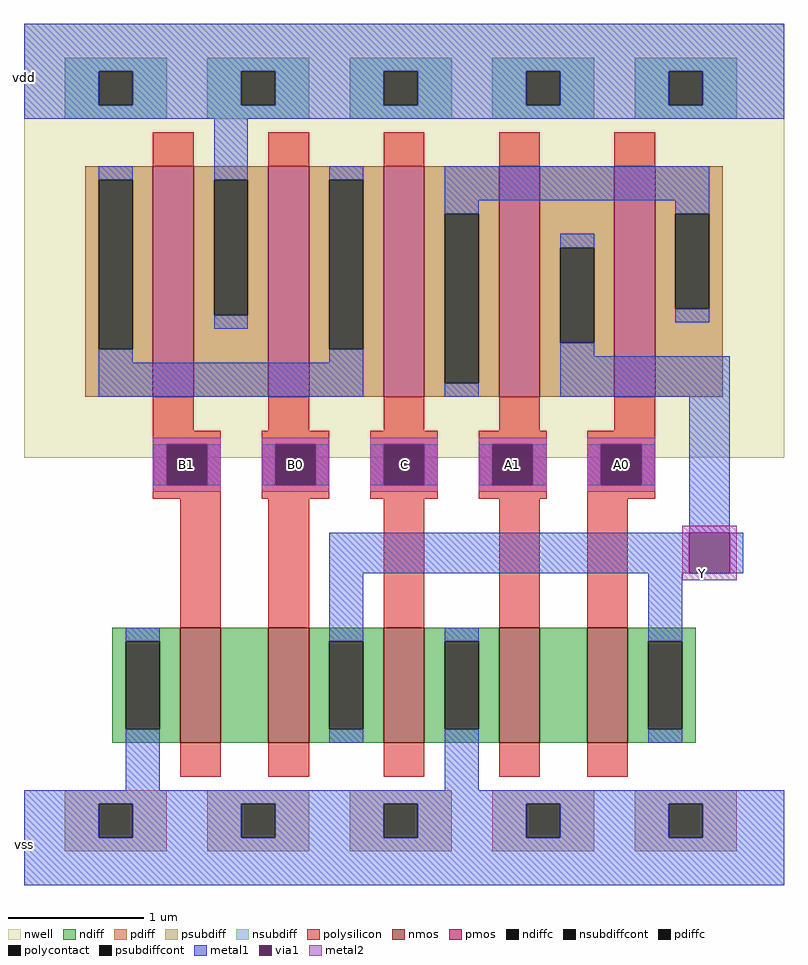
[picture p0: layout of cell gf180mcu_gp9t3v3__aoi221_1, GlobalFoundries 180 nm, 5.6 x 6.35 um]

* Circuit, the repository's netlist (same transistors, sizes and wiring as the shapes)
* NGSPICE file created from gf180mcu_gp9t3v3__aoi221_1.ext - technology: gf180mcuD

.subckt gf180mcu_gp9t3v3__aoi221_1 A0 A1 B0 B1 C Y vdd vss
X0 a_30_670# B0 vdd vdd pfet_03v3 ad=0.4675p pd=2.25u as=0.4675p ps=2.25u w=1.7u l=0.3u
X1 Y A1 a_530_670# vdd pfet_03v3 ad=0.4675p pd=2.25u as=0.4675p ps=2.25u w=1.7u l=0.3u
X2 a_250_160# B1 vss vss nfet_03v3 ad=0.10625p pd=1.1u as=0.425p ps=2.7u w=0.85u l=0.3u
X3 vss C Y vss nfet_03v3 ad=0.27625p pd=1.5u as=0.27625p ps=1.5u w=0.85u l=0.3u
X4 a_530_670# A0 Y vdd pfet_03v3 ad=0.85p pd=4.4u as=0.4675p ps=2.25u w=1.7u l=0.3u
X5 Y A0 a_740_160# vss nfet_03v3 ad=0.425p pd=2.7u as=0.10625p ps=1.1u w=0.85u l=0.3u
X6 vdd B1 a_30_670# vdd pfet_03v3 ad=0.4675p pd=2.25u as=0.85p ps=4.4u w=1.7u l=0.3u
X7 Y B0 a_250_160# vss nfet_03v3 ad=0.27625p pd=1.5u as=0.10625p ps=1.1u w=0.85u l=0.3u
X8 a_740_160# A1 vss vss nfet_03v3 ad=0.10625p pd=1.1u as=0.27625p ps=1.5u w=0.85u l=0.3u
X9 a_530_670# C a_30_670# vdd pfet_03v3 ad=0.4675p pd=2.25u as=0.4675p ps=2.25u w=1.7u l=0.3u
.ends

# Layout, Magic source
magic
tech gf180mcuD
<< nwell >>
rect -6 58 106 122
<< nmos >>
rect 17 16 23 33
rect 30 16 36 33
rect 47 16 53 33
rect 64 16 70 33
rect 77 16 83 33
<< pmos >>
rect 13 67 19 101
rect 30 67 36 101
rect 47 67 53 101
rect 64 67 70 101
rect 81 67 87 101
<< ndiff >>
rect 7 31 17 33
rect 7 18 9 31
rect 14 18 17 31
rect 7 16 17 18
rect 23 16 30 33
rect 36 31 47 33
rect 36 18 39 31
rect 44 18 47 31
rect 36 16 47 18
rect 53 31 64 33
rect 53 18 56 31
rect 61 18 64 31
rect 53 16 64 18
rect 70 16 77 33
rect 83 31 93 33
rect 83 18 86 31
rect 91 18 93 31
rect 83 16 93 18
<< pdiff >>
rect 3 99 13 101
rect 3 74 5 99
rect 10 74 13 99
rect 3 67 13 74
rect 19 99 30 101
rect 19 79 22 99
rect 27 79 30 99
rect 19 67 30 79
rect 36 99 47 101
rect 36 74 39 99
rect 44 74 47 99
rect 36 67 47 74
rect 53 94 64 101
rect 53 69 56 94
rect 61 69 64 94
rect 53 67 64 69
rect 70 89 81 101
rect 70 75 73 89
rect 78 75 81 89
rect 70 67 81 75
rect 87 94 97 101
rect 87 80 90 94
rect 95 80 97 94
rect 87 67 97 80
<< ndiffc >>
rect 9 18 14 31
rect 39 18 44 31
rect 56 18 61 31
rect 86 18 91 31
<< pdiffc >>
rect 5 74 10 99
rect 22 79 27 99
rect 39 74 44 99
rect 56 69 61 94
rect 73 75 78 89
rect 90 80 95 94
<< psubdiff >>
rect 0 7 15 9
rect 0 2 5 7
rect 10 2 15 7
rect 0 0 15 2
rect 21 7 36 9
rect 21 2 26 7
rect 31 2 36 7
rect 21 0 36 2
rect 42 7 57 9
rect 42 2 47 7
rect 52 2 57 7
rect 42 0 57 2
rect 63 7 78 9
rect 63 2 68 7
rect 73 2 78 7
rect 63 0 78 2
rect 84 7 99 9
rect 84 2 89 7
rect 94 2 99 7
rect 84 0 99 2
<< nsubdiff >>
rect 0 115 15 117
rect 0 110 5 115
rect 10 110 15 115
rect 0 108 15 110
rect 21 115 36 117
rect 21 110 26 115
rect 31 110 36 115
rect 21 108 36 110
rect 42 115 57 117
rect 42 110 47 115
rect 52 110 57 115
rect 42 108 57 110
rect 63 115 78 117
rect 63 110 68 115
rect 73 110 78 115
rect 63 108 78 110
rect 84 115 99 117
rect 84 110 89 115
rect 94 110 99 115
rect 84 108 99 110
<< psubdiffcont >>
rect 5 2 10 7
rect 26 2 31 7
rect 47 2 52 7
rect 68 2 73 7
rect 89 2 94 7
<< nsubdiffcont >>
rect 5 110 10 115
rect 26 110 31 115
rect 47 110 52 115
rect 68 110 73 115
rect 89 110 94 115
<< polysilicon >>
rect 13 101 19 106
rect 30 101 36 106
rect 47 101 53 106
rect 64 101 70 106
rect 81 101 87 106
rect 13 62 19 67
rect 30 62 36 67
rect 47 62 53 67
rect 64 62 70 67
rect 81 62 87 67
rect 13 60 23 62
rect 13 54 15 60
rect 21 54 23 60
rect 13 52 23 54
rect 29 60 39 62
rect 29 54 31 60
rect 37 54 39 60
rect 29 52 39 54
rect 45 60 55 62
rect 45 54 47 60
rect 53 54 55 60
rect 45 52 55 54
rect 61 60 71 62
rect 61 54 63 60
rect 69 54 71 60
rect 61 52 71 54
rect 77 60 87 62
rect 77 54 79 60
rect 85 54 87 60
rect 77 52 87 54
rect 17 33 23 52
rect 30 33 36 52
rect 47 33 53 52
rect 64 33 70 52
rect 77 33 83 52
rect 17 11 23 16
rect 30 11 36 16
rect 47 11 53 16
rect 64 11 70 16
rect 77 11 83 16
<< polycontact >>
rect 15 54 21 60
rect 31 54 37 60
rect 47 54 53 60
rect 63 54 69 60
rect 79 54 85 60
<< metal1 >>
rect -6 115 106 122
rect -6 110 5 115
rect 10 110 26 115
rect 31 110 47 115
rect 52 110 68 115
rect 73 110 89 115
rect 94 110 106 115
rect -6 108 106 110
rect 5 99 10 101
rect 22 99 27 108
rect 22 77 27 79
rect 39 99 44 101
rect 5 72 10 74
rect 39 72 44 74
rect 5 67 44 72
rect 56 96 95 101
rect 56 94 61 96
rect 90 94 95 96
rect 56 67 61 69
rect 73 89 78 91
rect 90 78 95 80
rect 73 73 78 75
rect 73 67 98 73
rect 13 54 15 60
rect 21 54 23 60
rect 29 54 31 60
rect 37 54 39 60
rect 45 54 47 60
rect 53 54 55 60
rect 61 54 63 60
rect 69 54 71 60
rect 77 54 79 60
rect 85 54 87 60
rect 92 47 98 67
rect 39 41 92 47
rect 98 41 100 47
rect 9 31 14 33
rect 9 9 14 18
rect 39 31 44 41
rect 39 16 44 18
rect 56 31 61 33
rect 56 9 61 18
rect 86 31 91 41
rect 86 16 91 18
rect -6 7 106 9
rect -6 2 5 7
rect 10 2 26 7
rect 31 2 47 7
rect 52 2 68 7
rect 73 2 89 7
rect 94 2 106 7
rect -6 -5 106 2
<< via1 >>
rect 15 54 21 60
rect 31 54 37 60
rect 47 54 53 60
rect 63 54 69 60
rect 79 54 85 60
rect 92 41 98 47
<< metal2 >>
rect 13 60 23 61
rect 13 54 15 60
rect 21 54 23 60
rect 13 53 23 54
rect 29 60 39 61
rect 29 54 31 60
rect 37 54 39 60
rect 29 53 39 54
rect 45 60 55 61
rect 45 54 47 60
rect 53 54 55 60
rect 45 53 55 54
rect 61 60 71 61
rect 61 54 63 60
rect 69 54 71 60
rect 61 53 71 54
rect 77 60 87 61
rect 77 54 79 60
rect 85 54 87 60
rect 77 53 87 54
rect 91 47 99 48
rect 91 41 92 47
rect 98 41 99 47
rect 91 40 99 41
<< labels >>
rlabel metal1 -6 114 -6 114 3 vdd
port 7 e power bidirectional abutment
rlabel metal1 -6 1 -6 1 3 vss
port 8 e ground bidirectional abutment
rlabel polycontact 82 57 82 57 1 A0
port 1 n signal input
rlabel via1 94 41 94 41 1 Y
port 6 n signal output
rlabel polycontact 66 57 66 57 1 A1
port 2 n signal input
rlabel polycontact 50 57 50 57 1 C
port 5 n signal input
rlabel polycontact 34 57 34 57 1 B0
port 3 n signal input
rlabel polycontact 18 57 18 57 1 B1
port 4 n signal input
<< end >>
